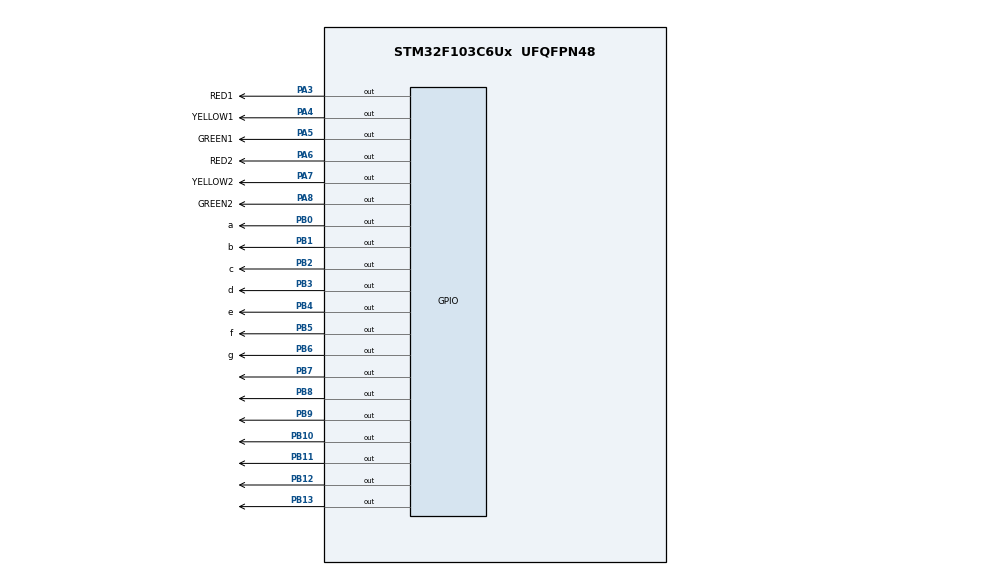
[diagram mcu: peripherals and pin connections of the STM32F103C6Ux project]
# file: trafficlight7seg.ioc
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Mcu.Family=STM32F1
Mcu.Name=STM32F103C6Ux
Mcu.Package=UFQFPN48
NVIC.PriorityGroup=NVIC_PRIORITYGROUP_4
PA3.GPIO_Label=RED1
PA3.Signal=GPIO_Output
PA4.GPIO_Label=YELLOW1
PA4.Signal=GPIO_Output
PA5.GPIO_Label=GREEN1
PA5.Signal=GPIO_Output
PA6.GPIO_Label=RED2
PA6.Signal=GPIO_Output
PA7.GPIO_Label=YELLOW2
PA7.Signal=GPIO_Output
PA8.GPIO_Label=GREEN2
PA8.Signal=GPIO_Output
PB0.GPIO_Label=a
PB0.Signal=GPIO_Output
PB1.GPIO_Label=b
PB1.Signal=GPIO_Output
PB10.Signal=GPIO_Output
PB11.Signal=GPIO_Output
PB12.Signal=GPIO_Output
PB13.Signal=GPIO_Output
PB2.GPIO_Label=c
PB2.Signal=GPIO_Output
PB3.GPIO_Label=d
PB3.Signal=GPIO_Output
PB4.GPIO_Label=e
PB4.Signal=GPIO_Output
PB5.GPIO_Label=f
PB5.Signal=GPIO_Output
PB6.GPIO_Label=g
PB6.Signal=GPIO_Output
PB7.Signal=GPIO_Output
PB8.Signal=GPIO_Output
PB9.Signal=GPIO_Output
ProjectManager.HeapSize=0x200
ProjectManager.StackSize=0x400
ProjectManager.TargetToolchain=STM32CubeIDE
RCC.APB1Freq_Value=8000000
RCC.APB2Freq_Value=8000000
board=custom

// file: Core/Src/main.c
/* USER CODE BEGIN Header */
/**
  ******************************************************************************
  * @file           : main.c
  * @brief          : Main program body
  ******************************************************************************
  * @attention
  *
  * Copyright (c) 2022 STMicroelectronics.
  * All rights reserved.
  *
  * This software is licensed under terms that can be found in the LICENSE file
  * in the root directory of this software component.
  * If no LICENSE file comes with this software, it is provided AS-IS.
  *
  ******************************************************************************
  */
/* USER CODE END Header */
#include "main.h"

void SystemClock_Config(void);
static void MX_GPIO_Init(void);

/* USER CODE BEGIN 0 */
void display7SEG(int num) {
	switch(num) {
	case 0:
		HAL_GPIO_WritePin(GPIOB, GPIO_PIN_0, RESET);
		HAL_GPIO_WritePin(GPIOB, GPIO_PIN_1, RESET);
		HAL_GPIO_WritePin(GPIOB, GPIO_PIN_2, RESET);
		HAL_GPIO_WritePin(GPIOB, GPIO_PIN_3, RESET);
		HAL_GPIO_WritePin(GPIOB, GPIO_PIN_4, RESET);
		HAL_GPIO_WritePin(GPIOB, GPIO_PIN_5, RESET);
		HAL_GPIO_WritePin(GPIOB, GPIO_PIN_6, SET);
		break;
	case 1:
		HAL_GPIO_WritePin(GPIOB, GPIO_PIN_0, SET);
		HAL_GPIO_WritePin(GPIOB, GPIO_PIN_1, RESET);
		HAL_GPIO_WritePin(GPIOB, GPIO_PIN_2, RESET);
		HAL_GPIO_WritePin(GPIOB, GPIO_PIN_3, SET);
		HAL_GPIO_WritePin(GPIOB, GPIO_PIN_4, SET);
		HAL_GPIO_WritePin(GPIOB, GPIO_PIN_5, SET);
		HAL_GPIO_WritePin(GPIOB, GPIO_PIN_6, SET);
		break;
	case 2:
		HAL_GPIO_WritePin(GPIOB, GPIO_PIN_0, RESET);
		HAL_GPIO_WritePin(GPIOB, GPIO_PIN_1, RESET);
		HAL_GPIO_WritePin(GPIOB, GPIO_PIN_2, SET);
		HAL_GPIO_WritePin(GPIOB, GPIO_PIN_3, RESET);
		HAL_GPIO_WritePin(GPIOB, GPIO_PIN_4, RESET);
		HAL_GPIO_WritePin(GPIOB, GPIO_PIN_5, SET);
		HAL_GPIO_WritePin(GPIOB, GPIO_PIN_6, RESET);
		break;
	case 3:
		HAL_GPIO_WritePin(GPIOB, GPIO_PIN_0, RESET);
		HAL_GPIO_WritePin(GPIOB, GPIO_PIN_1, RESET);
		HAL_GPIO_WritePin(GPIOB, GPIO_PIN_2, RESET);
		HAL_GPIO_WritePin(GPIOB, GPIO_PIN_3, RESET);
		HAL_GPIO_WritePin(GPIOB, GPIO_PIN_4, SET);
		HAL_GPIO_WritePin(GPIOB, GPIO_PIN_5, SET);
		HAL_GPIO_WritePin(GPIOB, GPIO_PIN_6, RESET);
		break;
	case 4:
		HAL_GPIO_WritePin(GPIOB, GPIO_PIN_0, SET);
		HAL_GPIO_WritePin(GPIOB, GPIO_PIN_1, RESET);
		HAL_GPIO_WritePin(GPIOB, GPIO_PIN_2, RESET);
		HAL_GPIO_WritePin(GPIOB, GPIO_PIN_3, SET);
		HAL_GPIO_WritePin(GPIOB, GPIO_PIN_4, SET);
		HAL_GPIO_WritePin(GPIOB, GPIO_PIN_5, RESET);
		HAL_GPIO_WritePin(GPIOB, GPIO_PIN_6, RESET);
		break;
	case 5:
		HAL_GPIO_WritePin(GPIOB, GPIO_PIN_0, RESET);
		HAL_GPIO_WritePin(GPIOB, GPIO_PIN_1, SET);
		HAL_GPIO_WritePin(GPIOB, GPIO_PIN_2, RESET);
		HAL_GPIO_WritePin(GPIOB, GPIO_PIN_3, RESET);
		HAL_GPIO_WritePin(GPIOB, GPIO_PIN_4, SET);
		HAL_GPIO_WritePin(GPIOB, GPIO_PIN_5, RESET);
		HAL_GPIO_WritePin(GPIOB, GPIO_PIN_6, RESET);
		break;
	case 6:
		HAL_GPIO_WritePin(GPIOB, GPIO_PIN_0, RESET);
		HAL_GPIO_WritePin(GPIOB, GPIO_PIN_1, SET);
		HAL_GPIO_WritePin(GPIOB, GPIO_PIN_2, RESET);
		HAL_GPIO_WritePin(GPIOB, GPIO_PIN_3, RESET);
		HAL_GPIO_WritePin(GPIOB, GPIO_PIN_4, RESET);
		HAL_GPIO_WritePin(GPIOB, GPIO_PIN_5, RESET);
		HAL_GPIO_WritePin(GPIOB, GPIO_PIN_6, RESET);
		break;
	case 7:
		HAL_GPIO_WritePin(GPIOB, GPIO_PIN_0, RESET);
		HAL_GPIO_WritePin(GPIOB, GPIO_PIN_1, RESET);
		HAL_GPIO_WritePin(GPIOB, GPIO_PIN_2, RESET);
		HAL_GPIO_WritePin(GPIOB, GPIO_PIN_3, SET);
		HAL_GPIO_WritePin(GPIOB, GPIO_PIN_4, SET);
		HAL_GPIO_WritePin(GPIOB, GPIO_PIN_5, SET);
		HAL_GPIO_WritePin(GPIOB, GPIO_PIN_6, SET);
		break;
	case 8:
		HAL_GPIO_WritePin(GPIOB, GPIO_PIN_0, RESET);
		HAL_GPIO_WritePin(GPIOB, GPIO_PIN_1, RESET);
		HAL_GPIO_WritePin(GPIOB, GPIO_PIN_2, RESET);
		HAL_GPIO_WritePin(GPIOB, GPIO_PIN_3, RESET);
		HAL_GPIO_WritePin(GPIOB, GPIO_PIN_4, RESET);
		HAL_GPIO_WritePin(GPIOB, GPIO_PIN_5, RESET);
		HAL_GPIO_WritePin(GPIOB, GPIO_PIN_6, RESET);
		break;
	case 9:
		HAL_GPIO_WritePin(GPIOB, GPIO_PIN_0, RESET);
		HAL_GPIO_WritePin(GPIOB, GPIO_PIN_1, RESET);
		HAL_GPIO_WritePin(GPIOB, GPIO_PIN_2, RESET);
		HAL_GPIO_WritePin(GPIOB, GPIO_PIN_3, RESET);
		HAL_GPIO_WritePin(GPIOB, GPIO_PIN_4, SET);
		HAL_GPIO_WritePin(GPIOB, GPIO_PIN_5, RESET);
		HAL_GPIO_WritePin(GPIOB, GPIO_PIN_6, RESET);
		break;
	}
}

void display7SEG1(int num) {
	switch(num) {
	case 0:
		HAL_GPIO_WritePin(GPIOB, GPIO_PIN_7, RESET);
		HAL_GPIO_WritePin(GPIOB, GPIO_PIN_8, RESET);
		HAL_GPIO_WritePin(GPIOB, GPIO_PIN_9, RESET);
		HAL_GPIO_WritePin(GPIOB, GPIO_PIN_10, RESET);
		HAL_GPIO_WritePin(GPIOB, GPIO_PIN_11, RESET);
		HAL_GPIO_WritePin(GPIOB, GPIO_PIN_12, RESET);
		HAL_GPIO_WritePin(GPIOB, GPIO_PIN_13, SET);
		break;
	case 1:
		HAL_GPIO_WritePin(GPIOB, GPIO_PIN_7, SET);
		HAL_GPIO_WritePin(GPIOB, GPIO_PIN_8, RESET);
		HAL_GPIO_WritePin(GPIOB, GPIO_PIN_9, RESET);
		HAL_GPIO_WritePin(GPIOB, GPIO_PIN_10, SET);
		HAL_GPIO_WritePin(GPIOB, GPIO_PIN_11, SET);
		HAL_GPIO_WritePin(GPIOB, GPIO_PIN_12, SET);
		HAL_GPIO_WritePin(GPIOB, GPIO_PIN_13, SET);
		break;
	case 2:
		HAL_GPIO_WritePin(GPIOB, GPIO_PIN_7, RESET);
		HAL_GPIO_WritePin(GPIOB, GPIO_PIN_8, RESET);
		HAL_GPIO_WritePin(GPIOB, GPIO_PIN_9, SET);
		HAL_GPIO_WritePin(GPIOB, GPIO_PIN_10, RESET);
		HAL_GPIO_WritePin(GPIOB, GPIO_PIN_11, RESET);
		HAL_GPIO_WritePin(GPIOB, GPIO_PIN_12, SET);
		HAL_GPIO_WritePin(GPIOB, GPIO_PIN_13, RESET);
		break;
	case 3:
		HAL_GPIO_WritePin(GPIOB, GPIO_PIN_7, RESET);
		HAL_GPIO_WritePin(GPIOB, GPIO_PIN_8, RESET);
		HAL_GPIO_WritePin(GPIOB, GPIO_PIN_9, RESET);
		HAL_GPIO_WritePin(GPIOB, GPIO_PIN_10, RESET);
		HAL_GPIO_WritePin(GPIOB, GPIO_PIN_11, SET);
		HAL_GPIO_WritePin(GPIOB, GPIO_PIN_12, SET);
		HAL_GPIO_WritePin(GPIOB, GPIO_PIN_13, RESET);
		break;
	case 4:
		HAL_GPIO_WritePin(GPIOB, GPIO_PIN_7, SET);
		HAL_GPIO_WritePin(GPIOB, GPIO_PIN_8, RESET);
		HAL_GPIO_WritePin(GPIOB, GPIO_PIN_9, RESET);
		HAL_GPIO_WritePin(GPIOB, GPIO_PIN_10, SET);
		HAL_GPIO_WritePin(GPIOB, GPIO_PIN_11, SET);
		HAL_GPIO_WritePin(GPIOB, GPIO_PIN_12, RESET);
		HAL_GPIO_WritePin(GPIOB, GPIO_PIN_13, RESET);
		break;
	case 5:
		HAL_GPIO_WritePin(GPIOB, GPIO_PIN_7, RESET);
		HAL_GPIO_WritePin(GPIOB, GPIO_PIN_8, SET);
		HAL_GPIO_WritePin(GPIOB, GPIO_PIN_9, RESET);
		HAL_GPIO_WritePin(GPIOB, GPIO_PIN_10, RESET);
		HAL_GPIO_WritePin(GPIOB, GPIO_PIN_11, SET);
		HAL_GPIO_WritePin(GPIOB, GPIO_PIN_12, RESET);
		HAL_GPIO_WritePin(GPIOB, GPIO_PIN_13, RESET);
		break;
	case 6:
		HAL_GPIO_WritePin(GPIOB, GPIO_PIN_7, RESET);
		HAL_GPIO_WritePin(GPIOB, GPIO_PIN_8, SET);
		HAL_GPIO_WritePin(GPIOB, GPIO_PIN_9, RESET);
		HAL_GPIO_WritePin(GPIOB, GPIO_PIN_10, RESET);
		HAL_GPIO_WritePin(GPIOB, GPIO_PIN_11, RESET);
		HAL_GPIO_WritePin(GPIOB, GPIO_PIN_12, RESET);
		HAL_GPIO_WritePin(GPIOB, GPIO_PIN_13, RESET);
		break;
	case 7:
		HAL_GPIO_WritePin(GPIOB, GPIO_PIN_7, RESET);
		HAL_GPIO_WritePin(GPIOB, GPIO_PIN_8, RESET);
		HAL_GPIO_WritePin(GPIOB, GPIO_PIN_9, RESET);
		HAL_GPIO_WritePin(GPIOB, GPIO_PIN_10, SET);
		HAL_GPIO_WritePin(GPIOB, GPIO_PIN_11, SET);
		HAL_GPIO_WritePin(GPIOB, GPIO_PIN_12, SET);
		HAL_GPIO_WritePin(GPIOB, GPIO_PIN_13, SET);
		break;
	case 8:
		HAL_GPIO_WritePin(GPIOB, GPIO_PIN_7, RESET);
		HAL_GPIO_WritePin(GPIOB, GPIO_PIN_8, RESET);
		HAL_GPIO_WritePin(GPIOB, GPIO_PIN_9, RESET);
		HAL_GPIO_WritePin(GPIOB, GPIO_PIN_10, RESET);
		HAL_GPIO_WritePin(GPIOB, GPIO_PIN_11, RESET);
		HAL_GPIO_WritePin(GPIOB, GPIO_PIN_12, RESET);
		HAL_GPIO_WritePin(GPIOB, GPIO_PIN_13, RESET);
		break;
	case 9:
		HAL_GPIO_WritePin(GPIOB, GPIO_PIN_7, RESET);
		HAL_GPIO_WritePin(GPIOB, GPIO_PIN_8, RESET);
		HAL_GPIO_WritePin(GPIOB, GPIO_PIN_9, RESET);
		HAL_GPIO_WritePin(GPIOB, GPIO_PIN_10, RESET);
		HAL_GPIO_WritePin(GPIOB, GPIO_PIN_11, SET);
		HAL_GPIO_WritePin(GPIOB, GPIO_PIN_12, RESET);
		HAL_GPIO_WritePin(GPIOB, GPIO_PIN_13, RESET);
		break;
	}
}
/* USER CODE END 0 */

int main(void)
{

  /* MCU Configuration--------------------------------------------------------*/

  /* Reset of all peripherals, Initializes the Flash interface and the Systick. */
  HAL_Init();

  /* Configure the system clock */
  SystemClock_Config();

  /* Initialize all configured peripherals */
  MX_GPIO_Init();
  /* USER CODE BEGIN 2 */
  	  /// den1: den xanh truoc, den2: den do truoc
  	  HAL_GPIO_WritePin(GPIOA, GPIO_PIN_3, 1);
      HAL_GPIO_WritePin(GPIOA, GPIO_PIN_4, 1);
      HAL_GPIO_WritePin(GPIOA, GPIO_PIN_5, 0);
      HAL_GPIO_WritePin(GPIOA, GPIO_PIN_6, 0);
      HAL_GPIO_WritePin(GPIOA, GPIO_PIN_7, 1);
      HAL_GPIO_WritePin(GPIOA, GPIO_PIN_8, 1);

      int time = 10; //tgian tong 1 chu ki
      int traffic_ord1[3] = {3,2,5};	//thu tu va tgian cua den1 xanh-vang-do
      int traffic_ord2[3] = {5,3,2};	//thu tu va tgian cua den2 do-xanh-vang
      int i1 = 0, i2 = 0; //bien de chay array
      int tem1 = traffic_ord1[i1], tem2 = traffic_ord2[i2]; //tgian current cua den1, den2
  /* USER CODE END 2 */

  /* Infinite loop */
  /* USER CODE BEGIN WHILE */
      while (1)
      {
    	  if (time <= 0) {
    		  time = 10; i1 = 0; i2 = 0;
    		  tem1 = traffic_ord1[i1], tem2 = traffic_ord2[i2];
    		  HAL_GPIO_WritePin(GPIOA, GPIO_PIN_3, 1);
    		  HAL_GPIO_WritePin(GPIOA, GPIO_PIN_5, 0);
    		  HAL_GPIO_WritePin(GPIOA, GPIO_PIN_7, 1);
    		  HAL_GPIO_WritePin(GPIOA, GPIO_PIN_6, 0);
    	  }
    	  if (tem1 <= 0) { //het tgian cua 1 loai den
    		  i1 ++;
    		  tem1 = traffic_ord1[i1]; //gan tiep tgian cua den tiep theo
    		  switch (i1) {  //neu i=1, chuyen tu xanh->vang; i=2, chuyen tu vang->do
    		  	  case 1:
  	      	  		HAL_GPIO_WritePin(GPIOA, GPIO_PIN_5, 1);
  	      	  		HAL_GPIO_WritePin(GPIOA, GPIO_PIN_4, 0);
  	      	  		break;
    		  	  case 2:
  	      	  		HAL_GPIO_WritePin(GPIOA, GPIO_PIN_4, 1);
  	      	  		HAL_GPIO_WritePin(GPIOA, GPIO_PIN_3, 0);
  	      	  		break;
    		  }
    	  }
    	  if (tem2 <= 0) { //het tgian cua 1 loai den, gan tiep tgian cua den tiep theo
    		  i2 ++;
    		  tem2 = traffic_ord2[i2]; //gan tiep tgian cua den tiep theo
    		  switch (i2) { //neu i=1, chuyen tu xanh->vang; i=2, chuyen tu vang->do
    		  	  case 1:
  	      	  		HAL_GPIO_WritePin(GPIOA, GPIO_PIN_6, 1);
  	      	  		HAL_GPIO_WritePin(GPIOA, GPIO_PIN_8, 0);
 	      	  		break;
    		  	  case 2:
  	      	  		HAL_GPIO_WritePin(GPIOA, GPIO_PIN_8, 1);
  	      	  		HAL_GPIO_WritePin(GPIOA, GPIO_PIN_7, 0);
  	      	  		break;
    		  }
    	  }
    	  display7SEG(tem1%10);
    	  display7SEG1(tem2%10);
    	  time--;
    	  tem1--;
    	  tem2--;
    	  HAL_Delay(1000);

    /* USER CODE END WHILE */

  }
}

void SystemClock_Config(void)
{
  RCC_OscInitTypeDef RCC_OscInitStruct = {0};
  RCC_ClkInitTypeDef RCC_ClkInitStruct = {0};

  /** Initializes the RCC Oscillators according to the specified parameters
  * in the RCC_OscInitTypeDef structure.
  */
  RCC_OscInitStruct.OscillatorType = RCC_OSCILLATORTYPE_HSI;
  RCC_OscInitStruct.HSIState = RCC_HSI_ON;
  RCC_OscInitStruct.HSICalibrationValue = RCC_HSICALIBRATION_DEFAULT;
  RCC_OscInitStruct.PLL.PLLState = RCC_PLL_NONE;
  if (HAL_RCC_OscConfig(&RCC_OscInitStruct) != HAL_OK)
  {
    Error_Handler();
  }

  /** Initializes the CPU, AHB and APB buses clocks
  */
  RCC_ClkInitStruct.ClockType = RCC_CLOCKTYPE_HCLK|RCC_CLOCKTYPE_SYSCLK
                              |RCC_CLOCKTYPE_PCLK1|RCC_CLOCKTYPE_PCLK2;
  RCC_ClkInitStruct.SYSCLKSource = RCC_SYSCLKSOURCE_HSI;
  RCC_ClkInitStruct.AHBCLKDivider = RCC_SYSCLK_DIV1;
  RCC_ClkInitStruct.APB1CLKDivider = RCC_HCLK_DIV1;
  RCC_ClkInitStruct.APB2CLKDivider = RCC_HCLK_DIV1;

  if (HAL_RCC_ClockConfig(&RCC_ClkInitStruct, FLASH_LATENCY_0) != HAL_OK)
  {
    Error_Handler();
  }
}

static void MX_GPIO_Init(void)
{
  GPIO_InitTypeDef GPIO_InitStruct = {0};

  /* GPIO Ports Clock Enable */
  __HAL_RCC_GPIOA_CLK_ENABLE();
  __HAL_RCC_GPIOB_CLK_ENABLE();

  /*Configure GPIO pin Output Level */
  HAL_GPIO_WritePin(GPIOA, RED1_Pin|YELLOW1_Pin|GREEN1_Pin|RED2_Pin
                          |YELLOW2_Pin|GREEN2_Pin, GPIO_PIN_RESET);

  /*Configure GPIO pin Output Level */
  HAL_GPIO_WritePin(GPIOB, a_Pin|b_Pin|c_Pin|GPIO_PIN_10
                          |GPIO_PIN_11|GPIO_PIN_12|GPIO_PIN_13|d_Pin
                          |e_Pin|f_Pin|g_Pin|GPIO_PIN_7
                          |GPIO_PIN_8|GPIO_PIN_9, GPIO_PIN_RESET);

  /*Configure GPIO pins : RED1_Pin YELLOW1_Pin GREEN1_Pin RED2_Pin
                           YELLOW2_Pin GREEN2_Pin */
  GPIO_InitStruct.Pin = RED1_Pin|YELLOW1_Pin|GREEN1_Pin|RED2_Pin
                          |YELLOW2_Pin|GREEN2_Pin;
  GPIO_InitStruct.Mode = GPIO_MODE_OUTPUT_PP;
  GPIO_InitStruct.Pull = GPIO_NOPULL;
  GPIO_InitStruct.Speed = GPIO_SPEED_FREQ_LOW;
  HAL_GPIO_Init(GPIOA, &GPIO_InitStruct);

  /*Configure GPIO pins : a_Pin b_Pin c_Pin PB10
                           PB11 PB12 PB13 d_Pin
                           e_Pin f_Pin g_Pin PB7
                           PB8 PB9 */
  GPIO_InitStruct.Pin = a_Pin|b_Pin|c_Pin|GPIO_PIN_10
                          |GPIO_PIN_11|GPIO_PIN_12|GPIO_PIN_13|d_Pin
                          |e_Pin|f_Pin|g_Pin|GPIO_PIN_7
                          |GPIO_PIN_8|GPIO_PIN_9;
  GPIO_InitStruct.Mode = GPIO_MODE_OUTPUT_PP;
  GPIO_InitStruct.Pull = GPIO_NOPULL;
  GPIO_InitStruct.Speed = GPIO_SPEED_FREQ_LOW;
  HAL_GPIO_Init(GPIOB, &GPIO_InitStruct);

}

void Error_Handler(void)
{
  __disable_irq();
  while (1)
  {
  }
}
